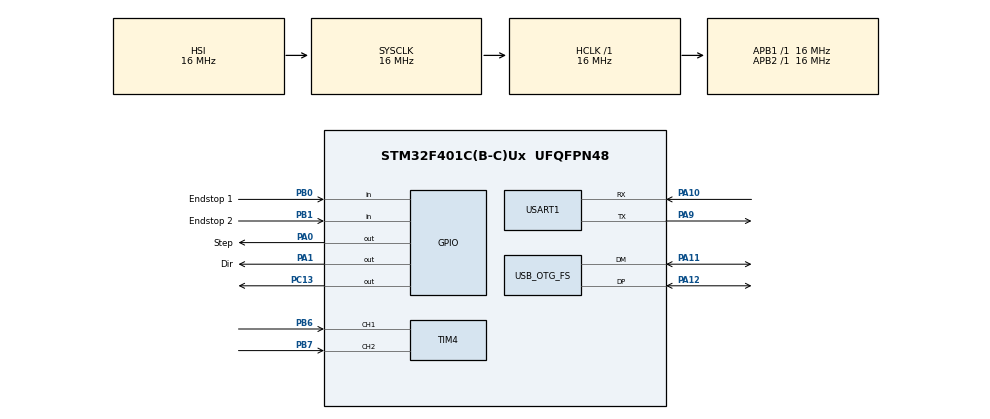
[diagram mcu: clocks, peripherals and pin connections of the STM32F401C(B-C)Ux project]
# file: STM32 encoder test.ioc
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Mcu.Family=STM32F4
Mcu.Name=STM32F401C(B-C)Ux
Mcu.Package=UFQFPN48
NVIC.OTG_FS_IRQn=true\:0\:0\:false\:false\:true\:false\:true\:true
NVIC.PriorityGroup=NVIC_PRIORITYGROUP_4
NVIC.TIM1_UP_TIM10_IRQn=true\:0\:0\:false\:false\:true\:true\:true\:true
PA0-WKUP.GPIO_Label=Step
PA0-WKUP.GPIO_PuPd=GPIO_PULLDOWN
PA0-WKUP.PinState=GPIO_PIN_SET
PA0-WKUP.Signal=GPIO_Output
PA1.GPIO_Label=Dir
PA1.GPIO_PuPd=GPIO_PULLDOWN
PA1.PinState=GPIO_PIN_SET
PA1.Signal=GPIO_Output
PA10.Mode=Asynchronous
PA10.Signal=USART1_RX
PA11.Mode=Device_Only
PA11.Signal=USB_OTG_FS_DM
PA12.Mode=Device_Only
PA12.Signal=USB_OTG_FS_DP
PA13.Mode=Serial_Wire
PA13.Signal=SYS_JTMS-SWDIO
PA14.Mode=Serial_Wire
PA14.Signal=SYS_JTCK-SWCLK
PA9.Mode=Asynchronous
PA9.Signal=USART1_TX
PB0.GPIO_Label=Endstop 1
PB0.GPIO_PuPd=GPIO_PULLDOWN
PB0.Signal=GPIO_Input
PB1.GPIO_Label=Endstop 2
PB1.GPIO_PuPd=GPIO_PULLDOWN
PB1.Signal=GPIO_Input
PB6.Signal=S_TIM4_CH1
PB7.Signal=S_TIM4_CH2
PC13-ANTI_TAMP.Signal=GPIO_Output
PH0\ -\ OSC_IN.Mode=HSE-External-Oscillator
PH0\ -\ OSC_IN.Signal=RCC_OSC_IN
PH1\ -\ OSC_OUT.Mode=HSE-External-Oscillator
PH1\ -\ OSC_OUT.Signal=RCC_OSC_OUT
ProjectManager.HeapSize=0x200
ProjectManager.StackSize=0x400
ProjectManager.TargetToolchain=STM32CubeIDE
RCC.48MHZClocksFreq_Value=48000000
RCC.AHBFreq_Value=16000000
RCC.APB1Freq_Value=16000000
RCC.APB1TimFreq_Value=16000000
RCC.APB2Freq_Value=16000000
RCC.APB2TimFreq_Value=16000000
RCC.CortexFreq_Value=16000000
RCC.HCLKFreq_Value=16000000
RCC.HSE_VALUE=25000000
RCC.HSI_VALUE=16000000
RCC.LSE_VALUE=32768
RCC.PLLM=15
RCC.PLLN=144
RCC.PLLQ=5
RCC.SYSCLKFreq_VALUE=16000000
RCC.VCOOutputFreq_Value=240000000
SH.S_TIM4_CH1.0=TIM4_CH1,Encoder_Interface
SH.S_TIM4_CH2.0=TIM4_CH2,Encoder_Interface
TIM1.Period=10
TIM1.Prescaler=26665
TIM3.Prescaler=16000
USART1.VirtualMode=VM_ASYNC
USB_DEVICE.CLASS_NAME_FS=CDC
USB_DEVICE.MANUFACTURER_STRING=Noon studio
USB_DEVICE.PRODUCT_STRING_CDC_FS=BPLA
USB_DEVICE.VirtualMode=Cdc
USB_DEVICE.VirtualModeFS=Cdc_FS
USB_OTG_FS.VirtualMode=Device_Only
VP_TIM1_VS_ClockSourceINT.Mode=Internal
VP_TIM3_VS_ClockSourceINT.Mode=Internal
VP_USB_DEVICE_VS_USB_DEVICE_CDC_FS.Mode=CDC_FS
board=custom

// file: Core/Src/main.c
/* USER CODE BEGIN Header */
/**
  ******************************************************************************
  * @file           : main.c
  * @brief          : Main program body
  ******************************************************************************
  * @attention
  *
  * Copyright (c) 2025 STMicroelectronics.
  * All rights reserved.
  *
  * This software is licensed under terms that can be found in the LICENSE file
  * in the root directory of this software component.
  * If no LICENSE file comes with this software, it is provided AS-IS.
  *
  ******************************************************************************
  */
/* USER CODE END Header */
#include "main.h"
#include "usb_device.h"

/* USER CODE BEGIN Includes */
#include "usbd_cdc_if.h"
/* USER CODE END Includes */

TIM_HandleTypeDef htim1;
TIM_HandleTypeDef htim3;
TIM_HandleTypeDef htim4;

UART_HandleTypeDef huart1;

/* USER CODE BEGIN PV */

uint8_t buffer[64]; //Буфер для приёма сообщений от компа
int count, lg, speed, endStopSize;
int deadZone = 5;
uint8_t message[64] = {'\0'};
uint32_t calBuffer[9]; //{0 Начало калибровки, 1 ES_1_B, 2 ES_1_E, 3 ES_2_B, 4 ES_2_E, 5 stop_start, 6 stop_end, 7 ES1_pos, 8 ES2_pos}
int deselerationDist;
int breakAt[2]; //Координата торможения, целевая координата
uint8_t move = 'n'; //направление вращения n=стоит, f=в +, b=в -
union {
	uint32_t u32;
	uint8_t u8[4];
} u;

uint32_t delta (uint32_t num_1, uint32_t num_2) {
	if (num_1 > num_2) {return num_1 - num_2;}
	else if (num_1 < num_2) {return num_2 - num_1;}
	else {return 0;}
}

/* USER CODE END PV */

void SystemClock_Config(void);
static void MX_GPIO_Init(void);
static void MX_TIM4_Init(void);
static void MX_USART1_UART_Init(void);
static void MX_TIM3_Init(void);
static void MX_TIM1_Init(void);

int main(void)
{

  /* USER CODE BEGIN 1 */

  void sendData (uint8_t data[], int length) {
	CDC_Transmit_FS(data, length);
  }

  /* USER CODE END 1 */

  /* MCU Configuration--------------------------------------------------------*/

  /* Reset of all peripherals, Initializes the Flash interface and the Systick. */
  HAL_Init();

  /* Configure the system clock */
  SystemClock_Config();

  /* Initialize all configured peripherals */
  MX_GPIO_Init();
  MX_TIM4_Init();
  MX_USART1_UART_Init();
  MX_USB_DEVICE_Init();
  MX_TIM3_Init();
  MX_TIM1_Init();
  /* USER CODE BEGIN 2 */
  HAL_TIM_Encoder_Start(&htim4, TIM_CHANNEL_ALL);

  HAL_GPIO_WritePin(GPIOA, GPIO_PIN_0, GPIO_PIN_RESET);
  HAL_GPIO_WritePin(GPIOA, GPIO_PIN_1, GPIO_PIN_RESET);

	void calibrate () {

	  sendData("\nCalibration start", 18);
	  HAL_TIM_Base_Stop_IT(&htim1);
	  TIM4->ARR = 65535;
	  //Проверка статичности колеса
	  memset(calBuffer, 0, sizeof(calBuffer));
	  calBuffer[0] = TIM4->CNT;
	  HAL_Delay(1000);
	  if (TIM4->CNT != calBuffer[0]) {
		  sendData("\nSistem static test faild", 25);
	  } else {sendData("\nSistem static test complite", 28);}

	  //Калибровка
	  HAL_GPIO_WritePin(GPIOA, GPIO_PIN_0, GPIO_PIN_SET);
	  int i = 0; //Счётчик калибровки
	  while (i < 4) { //Запись срабатываней концевика
		  if (HAL_GPIO_ReadPin(GPIOB, GPIO_PIN_0) == GPIO_PIN_SET && i==0) {calBuffer[1] = TIM4->CNT; i = 1; sendData("\nES_1_B", 7);} //ES_1_B
		  else if (HAL_GPIO_ReadPin(GPIOB, GPIO_PIN_0) == GPIO_PIN_RESET && i==1) {calBuffer[2] = TIM4->CNT; i = 2; sendData("\nES_1_E", 7);} //ES_1_E
		  else if (HAL_GPIO_ReadPin(GPIOB, GPIO_PIN_0) == GPIO_PIN_SET && i==2) {calBuffer[3] = TIM4->CNT; i = 3; sendData("\nES_2_B", 7);} //ES_2_B
		  else if (HAL_GPIO_ReadPin(GPIOB, GPIO_PIN_0) == GPIO_PIN_RESET && i==3) {calBuffer[4] = TIM4->CNT; i = 4; sendData("\nES_2_E", 7);} //ES_2_E
		  }

	  //Остановка мотора, замер времени остановки
	  calBuffer[5] = TIM4->CNT; //Значение перед остановкой
	  HAL_GPIO_WritePin(GPIOA, GPIO_PIN_0, GPIO_PIN_RESET); //остановка двигателя
	  int d[3] = {0, 0, 0}; //Буфер дельт
	  int e = calBuffer[5]; //Бувер значения энкодера
	  HAL_TIM_Base_Start_IT(&htim3); //Запуск таймера времени
	  while (d[2] < 1000) {
		  if (e != TIM4->CNT) {
			  e = TIM4->CNT;
			  d[1] = d[0];
			  d[0] = TIM3->CNT;
			  if (d[1] <= d[0]) {d[2] = d[0] - d[1];}
			  else if (d[1] > d[0]) {d[2] = (65535 + d[0]) - d[1];}
		  }
		  if (TIM3->CNT > 2000 + d[0]) {d[2] = 2000;}
	  }
	  HAL_TIM_Base_Stop_IT(&htim3); //Остановка таймера времени
	  TIM3->CNT = 0; //сброс таймера времени
	  calBuffer[6] = e;

	  //Применение результатов калибровки
	  deselerationDist = delta(calBuffer[6], calBuffer[5]);
	  calBuffer[7] = calBuffer[1] + delta(calBuffer[2], calBuffer[1]) / 2;
	  calBuffer[8] = calBuffer[3] + delta(calBuffer[4], calBuffer[3]) / 2;
	  endStopSize = (delta(calBuffer[2], calBuffer[1]) + delta(calBuffer[4], calBuffer[3])) /4;
	  TIM4->CNT = deselerationDist;
	  TIM4->ARR = delta(calBuffer[8], calBuffer[7]);
	  lg = sprintf(message, "\nCalibration end, ARR=%d, CNT=%d, EndStopSize=%d", TIM4->ARR, TIM4->CNT, endStopSize);
	  sendData(message, lg);
	  HAL_TIM_Base_Start_IT(&htim1);
	}

	void goToPos (int targetPos) {
		uint32_t disToMove[3] = {0, 0, deselerationDist}; //{по часовой, против часовой}
		//breakAt = 0;

		if (targetPos > TIM4->ARR || targetPos < 0) {
			lg = sprintf(message, "\nErr, pos %d out of range", targetPos);
			sendData(message, lg);
			return;
		}
		if (move != 'n') {
			lg = sprintf(message, "\nErr, moving");
			sendData(message, lg);
			return;
		}

		//Вычисление дистанций движения в обе стороны
		if (TIM4->CNT < targetPos - deadZone) {disToMove[0] = targetPos - TIM4->CNT; disToMove[1] = (TIM4->ARR - targetPos) + TIM4->CNT;}
		else if (TIM4->CNT > targetPos + deadZone) {disToMove[0] = TIM4->ARR - TIM4->CNT + targetPos; disToMove[1] = TIM4->CNT - targetPos;}
		else {return;}

		//определение направления
		if (disToMove[0] > disToMove[1]) {move = 'b';}
		else if (disToMove[0] == disToMove[1]) {move = 'n';}
		else {move = 'f';}

		//Поправка торможения для коротких поездок
		if (disToMove[0] < disToMove[2]*2 && move == 'f') {
			disToMove[2] = disToMove[0]/2;
		}
		else if (disToMove[1] < disToMove[2] * 2 && move == 'b') {
			disToMove[2] = disToMove[1]/2;
		}

		//Определение координаты торможения
		if (move == 'f') {
			if (disToMove[2] > targetPos) {
				breakAt[0] = TIM4->ARR - (disToMove[2] - targetPos);
			} else {
				breakAt[0] = targetPos - disToMove[2];
			}
		} else if (move == 'b'){
			if (disToMove[2] > TIM4->ARR - targetPos) {
				breakAt[0] = disToMove[2] - (TIM4->ARR - targetPos);
			} else {
				breakAt[0] = targetPos + disToMove[2];
			}
		}

		breakAt[1] = targetPos;

		//Включение мотора
		if (move == 'f') {HAL_GPIO_WritePin(GPIOA, GPIO_PIN_0, GPIO_PIN_SET);}
		else if (move == 'b') {HAL_GPIO_WritePin(GPIOA, GPIO_PIN_1, GPIO_PIN_SET);}

		//Дебаг сообщения
		lg = sprintf(message, "\nMove to %d, dir %c", targetPos, move);
		sendData(message, lg);

	}

  /* USER CODE END 2 */

  /* Infinite loop */
  /* USER CODE BEGIN WHILE */
  HAL_TIM_Base_Start_IT(&htim1);

  while (1)
  {
    /* USER CODE END WHILE */

    /* USER CODE BEGIN 3 */
	//Обработка команд
	switch (buffer[0]) {
		case 'c':
			calibrate();
			break;
		case 'g':
			for (int i=1; i<=4; i++) {
				u.u8[i-1] = buffer[i];
			}
			goToPos(u.u32);
			break;
		case 'n':
			goToPos(0);
			break;
		case 'p':
			break;
		case 't':
			u.u32 = 2054781047;
			for (int i = 0; i <= 3; i++) {message[i] = u.u8[i];}
			sendData(message, 4);
			break;
		case '0':
			goToPos(1);
			break;
		case '1':
			goToPos(TIM4->ARR/8*1);
			break;
		case '2':
			goToPos(TIM4->ARR/8*2);
			break;
		case '3':
			goToPos(TIM4->ARR/8*3);
			break;
		case '4':
			goToPos(TIM4->ARR/8*4);
			break;
		case '5':
			goToPos(TIM4->ARR/8*5);
			break;
		case '6':
			goToPos(TIM4->ARR/8*6);
			break;
		case '7':
			goToPos(TIM4->ARR/8*7);
			break;
	  }
	  memset(buffer, 0, sizeof(buffer));

	  //Ожидание координаты остановки
	  if (move == 'f' && ((breakAt[0] < breakAt[1] && TIM4->CNT >= breakAt[0] && TIM4->CNT < breakAt[1]) || (breakAt[0] > breakAt[1] && (TIM4->CNT >= breakAt[0] || TIM4->CNT < breakAt[1])))) {
		  HAL_GPIO_WritePin(GPIOA, GPIO_PIN_0, GPIO_PIN_RESET);
		  lg = sprintf(message, "\nmove done");
		  sendData(message, lg);
		  move = 'n';
	  } else if (move == 'b' && ((breakAt[0] > breakAt[1] && TIM4->CNT <= breakAt[0] && TIM4->CNT > breakAt[1]) || (breakAt[0] < breakAt[1] && (TIM4->CNT <= breakAt[0] || TIM4->CNT > breakAt[1])))) {
		  HAL_GPIO_WritePin(GPIOA, GPIO_PIN_1, GPIO_PIN_RESET);
		  lg = sprintf(message, "\nmove done");
		  sendData(message, lg);
		  move = 'n';
	  }
  }

  /* USER CODE END 3 */
}

void SystemClock_Config(void)
{
  RCC_OscInitTypeDef RCC_OscInitStruct = {0};
  RCC_ClkInitTypeDef RCC_ClkInitStruct = {0};

  /** Configure the main internal regulator output voltage
  */
  __HAL_RCC_PWR_CLK_ENABLE();
  __HAL_PWR_VOLTAGESCALING_CONFIG(PWR_REGULATOR_VOLTAGE_SCALE2);

  /** Initializes the RCC Oscillators according to the specified parameters
  * in the RCC_OscInitTypeDef structure.
  */
  RCC_OscInitStruct.OscillatorType = RCC_OSCILLATORTYPE_HSI|RCC_OSCILLATORTYPE_HSE;
  RCC_OscInitStruct.HSEState = RCC_HSE_ON;
  RCC_OscInitStruct.HSIState = RCC_HSI_ON;
  RCC_OscInitStruct.HSICalibrationValue = RCC_HSICALIBRATION_DEFAULT;
  RCC_OscInitStruct.PLL.PLLState = RCC_PLL_ON;
  RCC_OscInitStruct.PLL.PLLSource = RCC_PLLSOURCE_HSE;
  RCC_OscInitStruct.PLL.PLLM = 15;
  RCC_OscInitStruct.PLL.PLLN = 144;
  RCC_OscInitStruct.PLL.PLLP = RCC_PLLP_DIV2;
  RCC_OscInitStruct.PLL.PLLQ = 5;
  if (HAL_RCC_OscConfig(&RCC_OscInitStruct) != HAL_OK)
  {
    Error_Handler();
  }

  /** Initializes the CPU, AHB and APB buses clocks
  */
  RCC_ClkInitStruct.ClockType = RCC_CLOCKTYPE_HCLK|RCC_CLOCKTYPE_SYSCLK
                              |RCC_CLOCKTYPE_PCLK1|RCC_CLOCKTYPE_PCLK2;
  RCC_ClkInitStruct.SYSCLKSource = RCC_SYSCLKSOURCE_HSI;
  RCC_ClkInitStruct.AHBCLKDivider = RCC_SYSCLK_DIV1;
  RCC_ClkInitStruct.APB1CLKDivider = RCC_HCLK_DIV1;
  RCC_ClkInitStruct.APB2CLKDivider = RCC_HCLK_DIV1;

  if (HAL_RCC_ClockConfig(&RCC_ClkInitStruct, FLASH_LATENCY_0) != HAL_OK)
  {
    Error_Handler();
  }
}

static void MX_TIM1_Init(void)
{

  TIM_ClockConfigTypeDef sClockSourceConfig = {0};
  TIM_MasterConfigTypeDef sMasterConfig = {0};

  htim1.Instance = TIM1;
  htim1.Init.Prescaler = 26665;
  htim1.Init.CounterMode = TIM_COUNTERMODE_UP;
  htim1.Init.Period = 10;
  htim1.Init.ClockDivision = TIM_CLOCKDIVISION_DIV1;
  htim1.Init.RepetitionCounter = 0;
  htim1.Init.AutoReloadPreload = TIM_AUTORELOAD_PRELOAD_DISABLE;
  if (HAL_TIM_Base_Init(&htim1) != HAL_OK)
  {
    Error_Handler();
  }
  sClockSourceConfig.ClockSource = TIM_CLOCKSOURCE_INTERNAL;
  if (HAL_TIM_ConfigClockSource(&htim1, &sClockSourceConfig) != HAL_OK)
  {
    Error_Handler();
  }
  sMasterConfig.MasterOutputTrigger = TIM_TRGO_RESET;
  sMasterConfig.MasterSlaveMode = TIM_MASTERSLAVEMODE_DISABLE;
  if (HAL_TIMEx_MasterConfigSynchronization(&htim1, &sMasterConfig) != HAL_OK)
  {
    Error_Handler();
  }

}

static void MX_TIM3_Init(void)
{

  TIM_ClockConfigTypeDef sClockSourceConfig = {0};
  TIM_MasterConfigTypeDef sMasterConfig = {0};

  htim3.Instance = TIM3;
  htim3.Init.Prescaler = 16000;
  htim3.Init.CounterMode = TIM_COUNTERMODE_UP;
  htim3.Init.Period = 65535;
  htim3.Init.ClockDivision = TIM_CLOCKDIVISION_DIV1;
  htim3.Init.AutoReloadPreload = TIM_AUTORELOAD_PRELOAD_DISABLE;
  if (HAL_TIM_Base_Init(&htim3) != HAL_OK)
  {
    Error_Handler();
  }
  sClockSourceConfig.ClockSource = TIM_CLOCKSOURCE_INTERNAL;
  if (HAL_TIM_ConfigClockSource(&htim3, &sClockSourceConfig) != HAL_OK)
  {
    Error_Handler();
  }
  sMasterConfig.MasterOutputTrigger = TIM_TRGO_RESET;
  sMasterConfig.MasterSlaveMode = TIM_MASTERSLAVEMODE_DISABLE;
  if (HAL_TIMEx_MasterConfigSynchronization(&htim3, &sMasterConfig) != HAL_OK)
  {
    Error_Handler();
  }

}

static void MX_TIM4_Init(void)
{

  TIM_Encoder_InitTypeDef sConfig = {0};
  TIM_MasterConfigTypeDef sMasterConfig = {0};

  htim4.Instance = TIM4;
  htim4.Init.Prescaler = 0;
  htim4.Init.CounterMode = TIM_COUNTERMODE_UP;
  htim4.Init.Period = 65535;
  htim4.Init.ClockDivision = TIM_CLOCKDIVISION_DIV1;
  htim4.Init.AutoReloadPreload = TIM_AUTORELOAD_PRELOAD_DISABLE;
  sConfig.EncoderMode = TIM_ENCODERMODE_TI1;
  sConfig.IC1Polarity = TIM_ICPOLARITY_RISING;
  sConfig.IC1Selection = TIM_ICSELECTION_DIRECTTI;
  sConfig.IC1Prescaler = TIM_ICPSC_DIV1;
  sConfig.IC1Filter = 0;
  sConfig.IC2Polarity = TIM_ICPOLARITY_RISING;
  sConfig.IC2Selection = TIM_ICSELECTION_DIRECTTI;
  sConfig.IC2Prescaler = TIM_ICPSC_DIV1;
  sConfig.IC2Filter = 0;
  if (HAL_TIM_Encoder_Init(&htim4, &sConfig) != HAL_OK)
  {
    Error_Handler();
  }
  sMasterConfig.MasterOutputTrigger = TIM_TRGO_RESET;
  sMasterConfig.MasterSlaveMode = TIM_MASTERSLAVEMODE_DISABLE;
  if (HAL_TIMEx_MasterConfigSynchronization(&htim4, &sMasterConfig) != HAL_OK)
  {
    Error_Handler();
  }

}

static void MX_USART1_UART_Init(void)
{

  huart1.Instance = USART1;
  huart1.Init.BaudRate = 115200;
  huart1.Init.WordLength = UART_WORDLENGTH_8B;
  huart1.Init.StopBits = UART_STOPBITS_1;
  huart1.Init.Parity = UART_PARITY_NONE;
  huart1.Init.Mode = UART_MODE_TX_RX;
  huart1.Init.HwFlowCtl = UART_HWCONTROL_NONE;
  huart1.Init.OverSampling = UART_OVERSAMPLING_16;
  if (HAL_UART_Init(&huart1) != HAL_OK)
  {
    Error_Handler();
  }

}

static void MX_GPIO_Init(void)
{
  GPIO_InitTypeDef GPIO_InitStruct = {0};

  /* GPIO Ports Clock Enable */
  __HAL_RCC_GPIOC_CLK_ENABLE();
  __HAL_RCC_GPIOH_CLK_ENABLE();
  __HAL_RCC_GPIOA_CLK_ENABLE();
  __HAL_RCC_GPIOB_CLK_ENABLE();

  /*Configure GPIO pin Output Level */
  HAL_GPIO_WritePin(GPIOC, GPIO_PIN_13, GPIO_PIN_RESET);

  /*Configure GPIO pin Output Level */
  HAL_GPIO_WritePin(GPIOA, Step_Pin|Dir_Pin, GPIO_PIN_SET);

  /*Configure GPIO pin : PC13 */
  GPIO_InitStruct.Pin = GPIO_PIN_13;
  GPIO_InitStruct.Mode = GPIO_MODE_OUTPUT_PP;
  GPIO_InitStruct.Pull = GPIO_NOPULL;
  GPIO_InitStruct.Speed = GPIO_SPEED_FREQ_LOW;
  HAL_GPIO_Init(GPIOC, &GPIO_InitStruct);

  /*Configure GPIO pins : Step_Pin Dir_Pin */
  GPIO_InitStruct.Pin = Step_Pin|Dir_Pin;
  GPIO_InitStruct.Mode = GPIO_MODE_OUTPUT_PP;
  GPIO_InitStruct.Pull = GPIO_PULLDOWN;
  GPIO_InitStruct.Speed = GPIO_SPEED_FREQ_LOW;
  HAL_GPIO_Init(GPIOA, &GPIO_InitStruct);

  /*Configure GPIO pins : Endstop_1_Pin Endstop_2_Pin */
  GPIO_InitStruct.Pin = Endstop_1_Pin|Endstop_2_Pin;
  GPIO_InitStruct.Mode = GPIO_MODE_INPUT;
  GPIO_InitStruct.Pull = GPIO_PULLDOWN;
  HAL_GPIO_Init(GPIOB, &GPIO_InitStruct);

}

void Error_Handler(void)
{
  __disable_irq();
  while (1)
  {
  }
}
